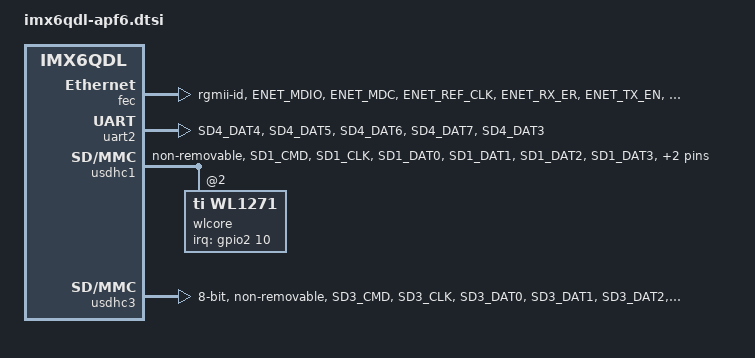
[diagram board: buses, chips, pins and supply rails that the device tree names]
/*
 * Copyright 2015 Armadeus Systems
 *
 * This file is dual-licensed: you can use it either under the terms
 * of the GPL or the X11 license, at your option. Note that this dual
 * licensing only applies to this file, and not this project as a
 * whole.
 *
 *  a) This file is free software; you can redistribute it and/or
 *     modify it under the terms of the GNU General Public License as
 *     published by the Free Software Foundation; either version 2 of
 *     the License, or (at your option) any later version.
 *
 *     This file is distributed in the hope that it will be useful,
 *     but WITHOUT ANY WARRANTY; without even the implied warranty of
 *     MERCHANTABILITY or FITNESS FOR A PARTICULAR PURPOSE.  See the
 *     GNU General Public License for more details.
 *
 *     You should have received a copy of the GNU General Public
 *     License along with this file; if not, write to the Free
 *     Software Foundation, Inc., 51 Franklin St, Fifth Floor, Boston,
 *     MA 02110-1301 USA
 *
 * Or, alternatively,
 *
 *  b) Permission is hereby granted, free of charge, to any person
 *     obtaining a copy of this software and associated documentation
 *     files (the "Software"), to deal in the Software without
 *     restriction, including without limitation the rights to use,
 *     copy, modify, merge, publish, distribute, sublicense, and/or
 *     sell copies of the Software, and to permit persons to whom the
 *     Software is furnished to do so, subject to the following
 *     conditions:
 *
 *     The above copyright notice and this permission notice shall be
 *     included in all copies or substantial portions of the Software.
 *
 *     THE SOFTWARE IS PROVIDED "AS IS", WITHOUT WARRANTY OF ANY KIND,
 *     EXPRESS OR IMPLIED, INCLUDING BUT NOT LIMITED TO THE WARRANTIES
 *     OF MERCHANTABILITY, FITNESS FOR A PARTICULAR PURPOSE AND
 *     NONINFRINGEMENT. IN NO EVENT SHALL THE AUTHORS OR COPYRIGHT
 *     HOLDERS BE LIABLE FOR ANY CLAIM, DAMAGES OR OTHER LIABILITY,
 *     WHETHER IN AN ACTION OF CONTRACT, TORT OR OTHERWISE, ARISING
 *     FROM, OUT OF OR IN CONNECTION WITH THE SOFTWARE OR THE USE OR
 *     OTHER DEALINGS IN THE SOFTWARE.
 */

#include <dt-bindings/gpio/gpio.h>
#include <dt-bindings/interrupt-controller/irq.h>

&fec {
	pinctrl-names = "default";
	pinctrl-0 = <&pinctrl_enet>;
	phy-mode = "rgmii-id";
	phy-reset-duration = <10>;
	phy-reset-gpios = <&gpio1 24 GPIO_ACTIVE_LOW>;
	status = "okay";
};

/* Bluetooth */
&uart2 {
	pinctrl-names = "default";
	pinctrl-0 = <&pinctrl_uart2>;
	status = "okay";
};

/* Wi-Fi */
&usdhc1 {
	pinctrl-names = "default";
	pinctrl-0 = <&pinctrl_usdhc1>;
	non-removable;
	status = "okay";

	#address-cells = <1>;
	#size-cells = <0>;
	wlcore: wlcore@2 {
		compatible = "ti,wl1271";
		reg = <2>;
		interrupt-parent = <&gpio2>;
		interrupts = <10 IRQ_TYPE_LEVEL_HIGH>;
		ref-clock-frequency = <38400000>;
		tcxo-clock-frequency = <38400000>;
	};
};

/* eMMC */
&usdhc3 {
	pinctrl-names = "default";
	pinctrl-0 = <&pinctrl_usdhc3>;
	bus-width = <8>;
	no-1-8-v;
	non-removable;
	status = "okay";
};

&iomuxc {
	apf6 {
		pinctrl_enet: enetgrp {
			fsl,pins = <
				MX6QDL_PAD_ENET_MDIO__ENET_MDIO		0x1b8b0
				MX6QDL_PAD_ENET_MDC__ENET_MDC		0x1b0b0
				MX6QDL_PAD_ENET_REF_CLK__ENET_TX_CLK	0x1b0b0
				MX6QDL_PAD_ENET_RX_ER__GPIO1_IO24	0x130b0
				MX6QDL_PAD_ENET_TX_EN__GPIO1_IO28	0x130b0
				MX6QDL_PAD_RGMII_TXC__RGMII_TXC		0x1b030
				MX6QDL_PAD_RGMII_TD0__RGMII_TD0		0x1b030
				MX6QDL_PAD_RGMII_TD1__RGMII_TD1		0x1b030
				MX6QDL_PAD_RGMII_TD2__RGMII_TD2		0x1b030
				MX6QDL_PAD_RGMII_TD3__RGMII_TD3		0x1b030
				MX6QDL_PAD_RGMII_TX_CTL__RGMII_TX_CTL	0x1b030
				MX6QDL_PAD_RGMII_RXC__RGMII_RXC		0x13030
				MX6QDL_PAD_RGMII_RD0__RGMII_RD0		0x1b030
				MX6QDL_PAD_RGMII_RD1__RGMII_RD1		0x13030
				MX6QDL_PAD_RGMII_RD2__RGMII_RD2		0x1f030
				MX6QDL_PAD_RGMII_RD3__RGMII_RD3		0x1f030
				MX6QDL_PAD_RGMII_RX_CTL__RGMII_RX_CTL	0x13030
			>;
		};

		pinctrl_uart2: uart2grp {
			fsl,pins = <
				MX6QDL_PAD_SD4_DAT4__UART2_RX_DATA	0x1b0b0
				MX6QDL_PAD_SD4_DAT5__UART2_RTS_B	0x1b0b0
				MX6QDL_PAD_SD4_DAT6__UART2_CTS_B	0x1b0b0
				MX6QDL_PAD_SD4_DAT7__UART2_TX_DATA	0x1b0b0
				MX6QDL_PAD_SD4_DAT3__GPIO2_IO11		0x130b0 /* BT_EN */
			>;
		};

		pinctrl_usdhc1: usdhc1grp {
			fsl,pins = <
				MX6QDL_PAD_SD1_CMD__SD1_CMD	0x17059
				MX6QDL_PAD_SD1_CLK__SD1_CLK	0x10059
				MX6QDL_PAD_SD1_DAT0__SD1_DATA0	0x17059
				MX6QDL_PAD_SD1_DAT1__SD1_DATA1	0x17059
				MX6QDL_PAD_SD1_DAT2__SD1_DATA2	0x17059
				MX6QDL_PAD_SD1_DAT3__SD1_DATA3	0x17059
				MX6QDL_PAD_SD4_DAT0__GPIO2_IO08	0x1b0b0 /* WL_EN */
				MX6QDL_PAD_SD4_DAT2__GPIO2_IO10	0x1b0b0 /* WL_IRQ */
			>;
		};

		pinctrl_usdhc3: usdhc3grp {
			fsl,pins = <
				MX6QDL_PAD_SD3_CMD__SD3_CMD	0x17059
				MX6QDL_PAD_SD3_CLK__SD3_CLK	0x10059
				MX6QDL_PAD_SD3_DAT0__SD3_DATA0	0x17059
				MX6QDL_PAD_SD3_DAT1__SD3_DATA1	0x17059
				MX6QDL_PAD_SD3_DAT2__SD3_DATA2	0x17059
				MX6QDL_PAD_SD3_DAT3__SD3_DATA3	0x17059
				MX6QDL_PAD_SD3_DAT4__SD3_DATA4	0x17059
				MX6QDL_PAD_SD3_DAT5__SD3_DATA5	0x17059
				MX6QDL_PAD_SD3_DAT6__SD3_DATA6	0x17059
				MX6QDL_PAD_SD3_DAT7__SD3_DATA7	0x17059
			>;
		};
	};
};
